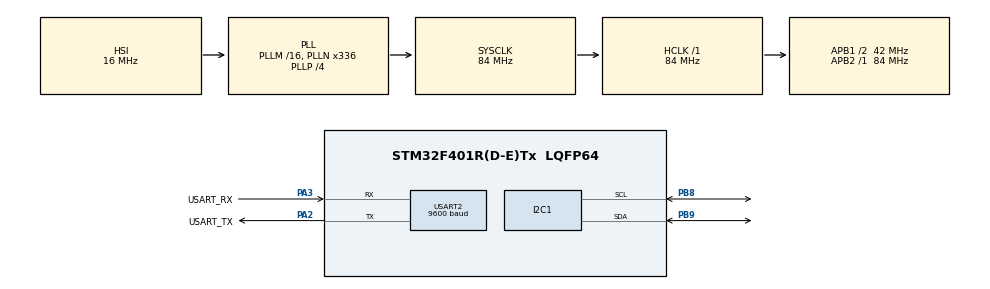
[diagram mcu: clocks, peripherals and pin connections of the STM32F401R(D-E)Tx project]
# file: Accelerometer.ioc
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Mcu.Family=STM32F4
Mcu.Name=STM32F401R(D-E)Tx
Mcu.Package=LQFP64
NVIC.PriorityGroup=NVIC_PRIORITYGROUP_0
NVIC.TIM1_UP_TIM10_IRQn=true\:0\:0\:false\:false\:true\:false\:true
NVIC.TimeBase=TIM1_UP_TIM10_IRQn
NVIC.TimeBaseIP=TIM1
PA13.GPIO_Label=TMS
PA13.Mode=Serial_Wire
PA13.Signal=SYS_JTMS-SWDIO
PA14.GPIO_Label=TCK
PA14.Mode=Serial_Wire
PA14.Signal=SYS_JTCK-SWCLK
PA2.GPIO_Label=USART_TX
PA2.GPIO_Mode=GPIO_MODE_AF_PP
PA2.GPIO_PuPd=GPIO_NOPULL
PA2.GPIO_Speed=GPIO_SPEED_FREQ_LOW
PA2.Mode=Asynchronous
PA2.Signal=USART2_TX
PA3.GPIO_Label=USART_RX
PA3.GPIO_Mode=GPIO_MODE_AF_PP
PA3.GPIO_PuPd=GPIO_NOPULL
PA3.GPIO_Speed=GPIO_SPEED_FREQ_LOW
PA3.Mode=Asynchronous
PA3.Signal=USART2_RX
PB3.GPIO_Label=SWO
PB3.Signal=SYS_JTDO-SWO
PB8.Mode=I2C
PB8.Signal=I2C1_SCL
PB9.Mode=I2C
PB9.Signal=I2C1_SDA
ProjectManager.HeapSize=0x200
ProjectManager.StackSize=0x400
ProjectManager.TargetToolchain=MDK-ARM V5.27
RCC.48MHZClocksFreq_Value=48000000
RCC.AHBFreq_Value=84000000
RCC.APB1CLKDivider=RCC_HCLK_DIV2
RCC.APB1Freq_Value=42000000
RCC.APB1TimFreq_Value=84000000
RCC.APB2Freq_Value=84000000
RCC.APB2TimFreq_Value=84000000
RCC.CortexFreq_Value=84000000
RCC.HCLKFreq_Value=84000000
RCC.HSE_VALUE=8000000
RCC.HSI_VALUE=16000000
RCC.LSE_VALUE=32768
RCC.PLLN=336
RCC.PLLP=RCC_PLLP_DIV4
RCC.PLLQ=7
RCC.SYSCLKFreq_VALUE=84000000
RCC.SYSCLKSource=RCC_SYSCLKSOURCE_PLLCLK
RCC.VCOOutputFreq_Value=336000000
USART2.BaudRate=9600
USART2.VirtualMode=VM_ASYNC
VP_SYS_VS_tim1.Mode=TIM1
board=NUCLEO-F401RE

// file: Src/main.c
/* USER CODE BEGIN Header */
/**
  ******************************************************************************
  * @file           : main.c
  * @brief          : Main program body
  ******************************************************************************
  * @attention
  *
  * <h2><center>&copy; Copyright (c) 2019 STMicroelectronics.
  * All rights reserved.</center></h2>
  *
  * This software component is licensed by ST under BSD 3-Clause license,
  * the "License"; You may not use this file except in compliance with the
  * License. You may obtain a copy of the License at:
  *                        opensource.org/licenses/BSD-3-Clause
  *
  ******************************************************************************
  */
/* USER CODE END Header */

#include "main.h"

/* USER CODE BEGIN Includes */
#include "stdio.h"
#include "string.h"
/* USER CODE END Includes */

/* USER CODE BEGIN PD */
#define LIS2DE_ADDRESS 0x28		// 010100 0
/* USER CODE END PD */

I2C_HandleTypeDef hi2c1;

UART_HandleTypeDef huart2;

/* USER CODE BEGIN PV */
uint8_t CTRL_REG_1[] = {0x20, 0b00010111}; // 0001 0111
uint8_t reg_x = 0x29;
uint8_t val_x;
uint8_t reg_y = 0x2B;
uint8_t val_y;
uint8_t reg_z = 0x2D;
uint8_t val_z;
float a_X, a_Y, a_Z;
char string[128];
/* USER CODE END PV */

void SystemClock_Config(void);
static void MX_GPIO_Init(void);
static void MX_USART2_UART_Init(void);
static void MX_I2C1_Init(void);
/* USER CODE BEGIN PFP */
float read_axis(uint8_t *address, uint8_t *value);
/* USER CODE END PFP */

int main(void)
{

  /* MCU Configuration--------------------------------------------------------*/

  /* Reset of all peripherals, Initializes the Flash interface and the Systick. */
  HAL_Init();

  /* Configure the system clock */
  SystemClock_Config();

  /* Initialize all configured peripherals */
  MX_GPIO_Init();
  MX_USART2_UART_Init();
  MX_I2C1_Init();
  /* USER CODE BEGIN 2 */
	HAL_I2C_Master_Transmit(&hi2c1, LIS2DE_ADDRESS<<1, CTRL_REG_1, 2, 100); // setup for ctr reg 1
  /* USER CODE END 2 */

  /* Infinite loop */
  /* USER CODE BEGIN WHILE */
  while (1)
  {
		// get all the axes values already converted
		a_X = read_axis(&reg_x, &val_x);
		a_Y = read_axis(&reg_y, &val_y);
		a_Z = read_axis(&reg_z, &val_z);
		// transmitting
		sprintf(string, "X: %+02.3f g\r\nY: %+02.3f g\r\nZ: %+02.3f g \r\n-----------\r\n", a_X, a_Y, a_Z);
		HAL_UART_Transmit(&huart2, (uint8_t *) string, strlen(string), 100);
		HAL_Delay(2000);
    /* USER CODE END WHILE */

  }
}

void SystemClock_Config(void)
{
  RCC_OscInitTypeDef RCC_OscInitStruct = {0};
  RCC_ClkInitTypeDef RCC_ClkInitStruct = {0};

  /** Configure the main internal regulator output voltage
  */
  __HAL_RCC_PWR_CLK_ENABLE();
  __HAL_PWR_VOLTAGESCALING_CONFIG(PWR_REGULATOR_VOLTAGE_SCALE2);
  /** Initializes the CPU, AHB and APB busses clocks
  */
  RCC_OscInitStruct.OscillatorType = RCC_OSCILLATORTYPE_HSI;
  RCC_OscInitStruct.HSIState = RCC_HSI_ON;
  RCC_OscInitStruct.HSICalibrationValue = RCC_HSICALIBRATION_DEFAULT;
  RCC_OscInitStruct.PLL.PLLState = RCC_PLL_ON;
  RCC_OscInitStruct.PLL.PLLSource = RCC_PLLSOURCE_HSI;
  RCC_OscInitStruct.PLL.PLLM = 16;
  RCC_OscInitStruct.PLL.PLLN = 336;
  RCC_OscInitStruct.PLL.PLLP = RCC_PLLP_DIV4;
  RCC_OscInitStruct.PLL.PLLQ = 7;
  if (HAL_RCC_OscConfig(&RCC_OscInitStruct) != HAL_OK)
  {
    Error_Handler();
  }
  /** Initializes the CPU, AHB and APB busses clocks
  */
  RCC_ClkInitStruct.ClockType = RCC_CLOCKTYPE_HCLK|RCC_CLOCKTYPE_SYSCLK
                              |RCC_CLOCKTYPE_PCLK1|RCC_CLOCKTYPE_PCLK2;
  RCC_ClkInitStruct.SYSCLKSource = RCC_SYSCLKSOURCE_PLLCLK;
  RCC_ClkInitStruct.AHBCLKDivider = RCC_SYSCLK_DIV1;
  RCC_ClkInitStruct.APB1CLKDivider = RCC_HCLK_DIV2;
  RCC_ClkInitStruct.APB2CLKDivider = RCC_HCLK_DIV1;

  if (HAL_RCC_ClockConfig(&RCC_ClkInitStruct, FLASH_LATENCY_2) != HAL_OK)
  {
    Error_Handler();
  }
}

static void MX_I2C1_Init(void)
{

  hi2c1.Instance = I2C1;
  hi2c1.Init.ClockSpeed = 100000;
  hi2c1.Init.DutyCycle = I2C_DUTYCYCLE_2;
  hi2c1.Init.OwnAddress1 = 0;
  hi2c1.Init.AddressingMode = I2C_ADDRESSINGMODE_7BIT;
  hi2c1.Init.DualAddressMode = I2C_DUALADDRESS_DISABLE;
  hi2c1.Init.OwnAddress2 = 0;
  hi2c1.Init.GeneralCallMode = I2C_GENERALCALL_DISABLE;
  hi2c1.Init.NoStretchMode = I2C_NOSTRETCH_DISABLE;
  if (HAL_I2C_Init(&hi2c1) != HAL_OK)
  {
    Error_Handler();
  }

}

static void MX_USART2_UART_Init(void)
{

  huart2.Instance = USART2;
  huart2.Init.BaudRate = 9600;
  huart2.Init.WordLength = UART_WORDLENGTH_8B;
  huart2.Init.StopBits = UART_STOPBITS_1;
  huart2.Init.Parity = UART_PARITY_NONE;
  huart2.Init.Mode = UART_MODE_TX_RX;
  huart2.Init.HwFlowCtl = UART_HWCONTROL_NONE;
  huart2.Init.OverSampling = UART_OVERSAMPLING_16;
  if (HAL_UART_Init(&huart2) != HAL_OK)
  {
    Error_Handler();
  }

}

static void MX_GPIO_Init(void)
{

  /* GPIO Ports Clock Enable */
  __HAL_RCC_GPIOA_CLK_ENABLE();
  __HAL_RCC_GPIOB_CLK_ENABLE();

}

/* USER CODE BEGIN 4 */
float read_axis(uint8_t *adress, uint8_t *value)
{
	float acc_g;
	HAL_I2C_Master_Transmit(&hi2c1, LIS2DE_ADDRESS<<1, adress, 1, 100);
	HAL_I2C_Master_Receive(&hi2c1, LIS2DE_ADDRESS<<1, value, 1, 100);
	// processing | use casting
	acc_g = (int8_t) *value*2.00/128;		// conversion to an actual signed float number and then in Gs (*2.00/128)
	return acc_g;
}
/* USER CODE END 4 */

void HAL_TIM_PeriodElapsedCallback(TIM_HandleTypeDef *htim)
{
  if (htim->Instance == TIM1) {
    HAL_IncTick();
  }
}

void Error_Handler(void)
{
}

/************************ (C) COPYRIGHT STMicroelectronics *****END OF FILE****/
